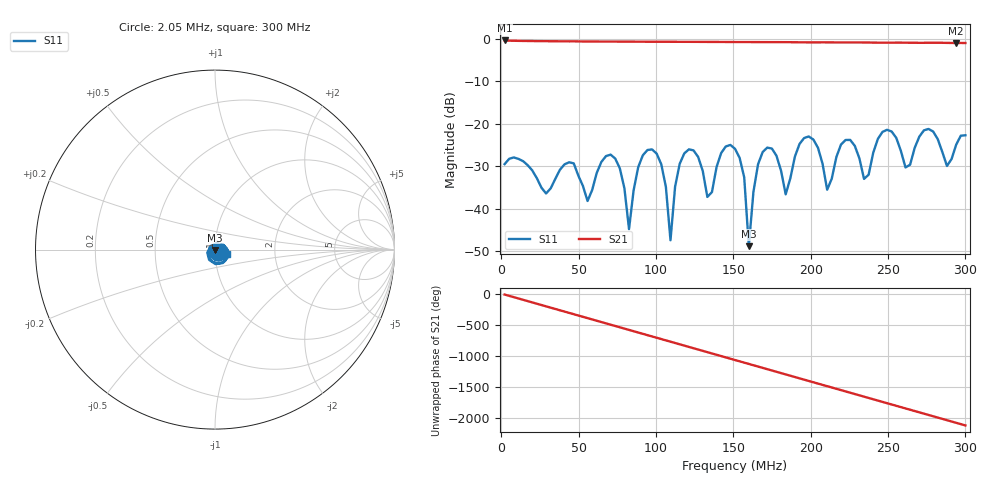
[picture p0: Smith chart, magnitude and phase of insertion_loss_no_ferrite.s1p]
# Hz S RI R 50
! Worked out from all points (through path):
!   101 points, 2.05 MHz to 300 MHz, reference 50 ohm
!   highest |S21| = -0.41 dB at 2.05 MHz (marker M1); lowest = -1.0 dB at 294 MHz (marker M2)
!   group delay of S21, straight-line fit = 19.6 ns
!   lowest |S11| = -48.8 dB at 160 MHz (marker M3), VSWR 1.01, Z = 49.8 - j0.277 ohm
!   |S11| at or under -10 dB: start of sweep to end of sweep
!   S12 and S22 are empty: the file has one direction only
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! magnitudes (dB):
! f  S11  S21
! 2.05 MHz  -29.5  -0.4
! 52.7 MHz  -34.7  -0.6
! 73.56 MHz  -28.2  -0.7
! 82.5 MHz  -44.8  -0.7
! 91.44 MHz  -27.4  -0.7
! 103.4 MHz  -29.6  -0.7
! 109.3 MHz  -47.4  -0.7
! 118.3 MHz  -27.0  -0.7
! 133.1 MHz  -37.3  -0.8
! 151 MHz  -25.9  -0.8
! 157 MHz  -32.6  -0.8
! 160 MHz  -48.8  -0.8
! 168.9 MHz  -26.7  -0.8
! 183.8 MHz  -36.6  -0.8
! 201.7 MHz  -23.7  -0.9
! 210.6 MHz  -35.6  -0.9
! 222.5 MHz  -23.8  -0.9
! 234.5 MHz  -33.0  -0.9
! 252.3 MHz  -21.9  -0.9
! 261.3 MHz  -30.3  -0.9
! 294 MHz  -25.0  -1.0
! 300 MHz  -22.7  -1.0
